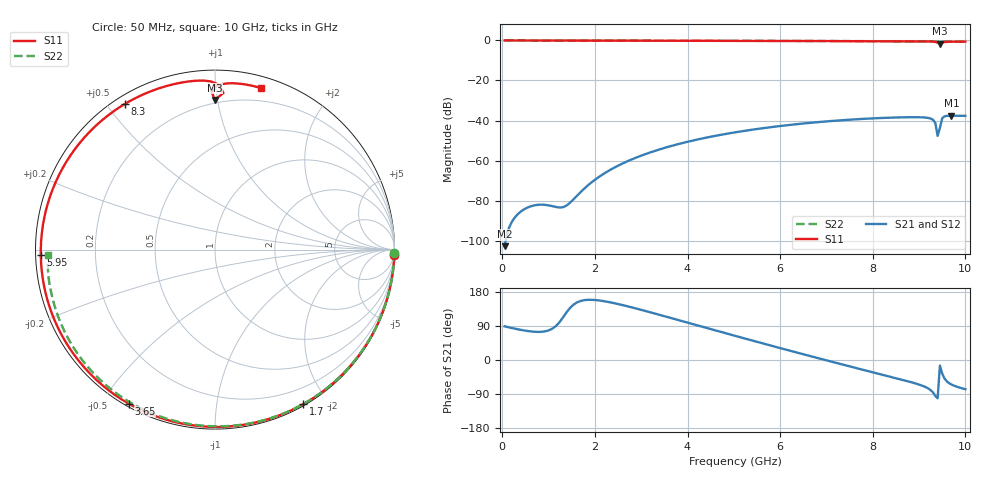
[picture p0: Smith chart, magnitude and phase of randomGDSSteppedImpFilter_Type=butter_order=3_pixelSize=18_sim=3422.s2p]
! freq	dB(S11)	phase(S11)	dB(S12)	phase(S12)
!  dB(S21)	phase(S21)	dB(S22)	phase(S22)
!S-par simulation data
#  GHz  S  DB  R 50
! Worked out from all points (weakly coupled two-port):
!   200 points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, 50 MHz to 10 GHz, reference 50 ohm
!   highest |S21| = -37.61 dB at 9.7 GHz (marker M1); lowest = -102.8 dB at 50 MHz (marker M2)
!   lowest |S11| = -1.6 dB at 9.45 GHz (marker M3), VSWR 11.04, Z = 8.97 + j49.1 ohm
!   |S11| at or under -10 dB: nowhere
!   |S22| runs from -0.6 to 0.0 dB; largest |S21 - S12| = 0
!   S11 on the Smith chart (normalised r, x): 50 MHz: 0, -62; 1.7 GHz: 0.02, -1.72; 3.65 GHz: 0.01, -0.59; 5.95 GHz: 0.01, -0.02; 8.3 GHz: 0.03, +0.56; 10 GHz: 0.09, +1.32
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0.05  -0.00 -1.9  -102.78 88.9  -102.78 88.9  -0.00 -1.0
0.75  -0.03 -27.3  -82.17 74.2  -82.17 74.2  -0.02 -14.7
1.5  -0.07 -53.6  -80.25 141.9  -80.25 141.9  -0.04 -29.3
1.7  -0.07 -60.3  -75.55 156.0  -75.55 156.0  -0.04 -33.1
1.75  -0.08 -61.9  -74.44 157.4  -74.44 157.4  -0.04 -34.1
2.05  -0.09 -71.7  -68.76 157.7  -68.76 157.7  -0.05 -39.8
2.45  -0.10 -84.4  -63.16 149.1  -63.16 149.1  -0.06 -47.3
3.4  -0.13 -112.3  -54.40 119.1  -54.40 119.1  -0.09 -64.7
3.65  -0.14 -119.2  -52.71 110.6  -52.71 110.6  -0.09 -69.1
5.05  -0.20 -155.8  -45.82 63.0  -45.82 63.0  -0.14 -93.5
5.95  -0.25 -178.1  -42.89 33.1  -42.89 33.1  -0.19 -108.6
6.7  -0.30 163.3  -41.04 8.7  -41.04 8.7  -0.24 -121.0
7.5  -0.35 143.0  -39.58 -16.8  -39.58 -16.8  -0.30 -134.2
8.3  -0.41 121.7  -38.63 -41.6  -38.63 -41.6  -0.38 -147.6
8.35  -0.41 120.4  -38.59 -43.2  -38.59 -43.2  -0.39 -148.5
9.25  -0.51 93.4  -39.02 -79.5  -39.02 -79.5  -0.50 -164.2
9.35  -0.71 88.9  -41.18 -94.6  -41.18 -94.6  -0.51 -166.0
9.4  -1.17 86.9  -47.66 -101.1  -47.66 -101.1  -0.52 -166.9
9.45  -1.58 90.1  -43.74 -14.7  -43.74 -14.7  -0.52 -167.8
9.5  -1.09 91.2  -38.81 -36.1  -38.81 -36.1  -0.52 -168.8
9.7  -0.61 83.9  -37.61 -64.8  -37.61 -64.8  -0.56 -172.5
10  -0.57 74.2  -37.67 -77.0  -37.67 -77.0  -0.60 -178.3
